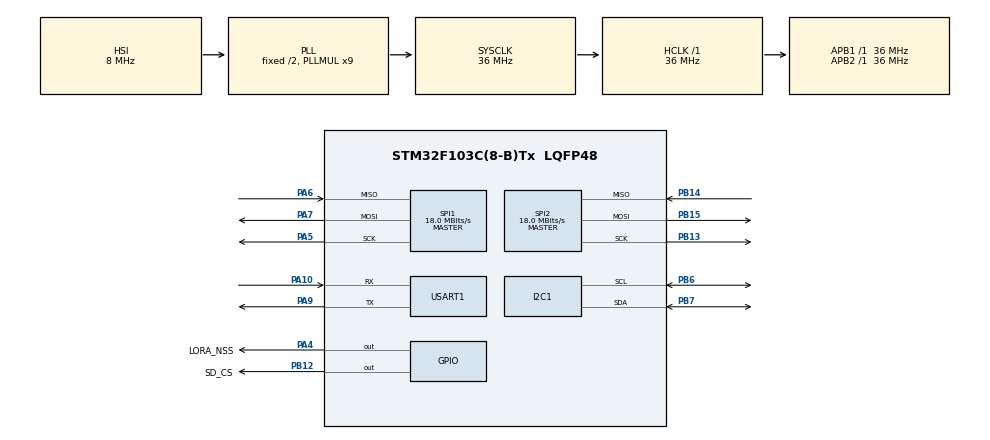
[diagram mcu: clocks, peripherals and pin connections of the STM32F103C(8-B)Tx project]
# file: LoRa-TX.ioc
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FATFS._MAX_SS=4096
FATFS._USE_LFN=1
Mcu.Family=STM32F1
Mcu.Name=STM32F103C(8-B)Tx
Mcu.Package=LQFP48
NVIC.PriorityGroup=NVIC_PRIORITYGROUP_4
PA10.Mode=Asynchronous
PA10.Signal=USART1_RX
PA13.Mode=Serial_Wire
PA13.Signal=SYS_JTMS-SWDIO
PA14.Mode=Serial_Wire
PA14.Signal=SYS_JTCK-SWCLK
PA4.GPIO_Label=LORA_NSS
PA4.Signal=GPIO_Output
PA5.Mode=Full_Duplex_Master
PA5.Signal=SPI1_SCK
PA6.Mode=Full_Duplex_Master
PA6.Signal=SPI1_MISO
PA7.Mode=Full_Duplex_Master
PA7.Signal=SPI1_MOSI
PA9.Mode=Asynchronous
PA9.Signal=USART1_TX
PB12.GPIO_Label=SD_CS
PB12.Signal=GPIO_Output
PB13.Mode=Full_Duplex_Master
PB13.Signal=SPI2_SCK
PB14.Mode=Full_Duplex_Master
PB14.Signal=SPI2_MISO
PB15.Mode=Full_Duplex_Master
PB15.Signal=SPI2_MOSI
PB6.Mode=I2C
PB6.Signal=I2C1_SCL
PB7.Mode=I2C
PB7.Signal=I2C1_SDA
ProjectManager.HeapSize=0x200
ProjectManager.StackSize=0x400
ProjectManager.TargetToolchain=STM32CubeIDE
RCC.AHBFreq_Value=36000000
RCC.APB1Freq_Value=36000000
RCC.APB1TimFreq_Value=36000000
RCC.APB2Freq_Value=36000000
RCC.APB2TimFreq_Value=36000000
RCC.HCLKFreq_Value=36000000
RCC.PLLMUL=RCC_PLL_MUL9
RCC.SYSCLKFreq_VALUE=36000000
RCC.SYSCLKSource=RCC_SYSCLKSOURCE_PLLCLK
RCC.USBFreq_Value=36000000
SPI1.CalculateBaudRate=18.0 MBits/s
SPI1.Direction=SPI_DIRECTION_2LINES
SPI1.Mode=SPI_MODE_MASTER
SPI1.VirtualType=VM_MASTER
SPI2.CalculateBaudRate=18.0 MBits/s
SPI2.Direction=SPI_DIRECTION_2LINES
SPI2.Mode=SPI_MODE_MASTER
SPI2.VirtualType=VM_MASTER
USART1.VirtualMode=VM_ASYNC
VP_FATFS_VS_Generic.Mode=User_defined
board=custom

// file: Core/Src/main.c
/* USER CODE BEGIN Header */
/**
  ******************************************************************************
  * @file           : main.c
  * @brief          : Main program body
  ******************************************************************************
  * @attention
  *
  * Copyright (c) 2022 STMicroelectronics.
  * All rights reserved.
  *
  * This software is licensed under terms that can be found in the LICENSE file
  * in the root directory of this software component.
  * If no LICENSE file comes with this software, it is provided AS-IS.
  *
  ******************************************************************************
  */
/* USER CODE END Header */
#include "main.h"
#include "fatfs.h"
#include "string.h"
#include "lora_sx1276.h"

I2C_HandleTypeDef hi2c1;

SPI_HandleTypeDef hspi1;
SPI_HandleTypeDef hspi2;

UART_HandleTypeDef huart1;

/* USER CODE BEGIN PV */
FATFS fs;
FIL fil;
FRESULT resSD;
uint8_t resLORA;
lora_sx1276 lora;

char message[25] = "LoRa Board TX Testing";
/* USER CODE END PV */

void SystemClock_Config(void);
static void MX_GPIO_Init(void);
static void MX_I2C1_Init(void);
static void MX_SPI1_Init(void);
static void MX_SPI2_Init(void);
static void MX_USART1_UART_Init(void);

/* USER CODE BEGIN 0 */
void send_uart(char *string){
	uint8_t len = strlen(string);
	HAL_UART_Transmit(&huart1, (uint8_t*)string, len, 2000);
}
/* USER CODE END 0 */

int main(void)
{

  /* MCU Configuration--------------------------------------------------------*/

  /* Reset of all peripherals, Initializes the Flash interface and the Systick. */
  HAL_Init();

  /* Configure the system clock */
  SystemClock_Config();

  /* Initialize all configured peripherals */
  MX_GPIO_Init();
  MX_I2C1_Init();
  MX_SPI1_Init();
  MX_SPI2_Init();
  MX_USART1_UART_Init();
  MX_FATFS_Init();
  /* USER CODE BEGIN 2 */
  send_uart("Mounting File System and Opening File !!!\r\n");
  while((f_mount(&fs, "", 0)) != FR_OK){
	  send_uart("Mounting File System Failed...try to reset the mcu !!!\r\n");
  }
  while((f_open(&fil, "LORA-TX_LOG.txt", FA_OPEN_ALWAYS | FA_WRITE | FA_READ)) != FR_OK){
	  send_uart("Opening File Failed...try to reset the mcu !!!\r\n");
  }

  while((lora_init(&lora, &hspi1, LORA_NSS_GPIO_Port, LORA_NSS_Pin, 923*1000000)) != LORA_OK){
	  send_uart("Initialize LoRa Failed...try to reset the mcu !!!\r\n");
  }
  send_uart("Initialize LoRa Success\r\n");
  send_uart("++++++++++++++++++++++\r\n");

  /* USER CODE END 2 */

  /* Infinite loop */
  /* USER CODE BEGIN WHILE */
  int i = 0;
  while (i<100)
  {
    /* USER CODE END WHILE */

    /* USER CODE BEGIN 3 */
	  resLORA = lora_send_packet(&lora, (uint8_t *)message, sizeof(message));
	  if(resLORA != LORA_OK){
		  send_uart("Failed to sent package !!!\r\n");
	  }else{
		  f_puts("Message sent : ", &fil);
		  f_puts(message, &fil);
		  f_puts(" --> ", &fil);
		  f_puts(resLORA, &fil);
		  f_puts("\r\n", &fil);

		  send_uart("Data Sent : ");
		  send_uart(message);
		  send_uart("\r\n");
	  }
	  i++;
  }

  f_close(&fil);
  send_uart("Closing File...Please Wait\r\n");
  HAL_Delay(5000);
  send_uart("ALL DONE !!!\r\n");
  /* USER CODE END 3 */
}

void SystemClock_Config(void)
{
  RCC_OscInitTypeDef RCC_OscInitStruct = {0};
  RCC_ClkInitTypeDef RCC_ClkInitStruct = {0};

  /** Initializes the RCC Oscillators according to the specified parameters
  * in the RCC_OscInitTypeDef structure.
  */
  RCC_OscInitStruct.OscillatorType = RCC_OSCILLATORTYPE_HSI;
  RCC_OscInitStruct.HSIState = RCC_HSI_ON;
  RCC_OscInitStruct.HSICalibrationValue = RCC_HSICALIBRATION_DEFAULT;
  RCC_OscInitStruct.PLL.PLLState = RCC_PLL_ON;
  RCC_OscInitStruct.PLL.PLLSource = RCC_PLLSOURCE_HSI_DIV2;
  RCC_OscInitStruct.PLL.PLLMUL = RCC_PLL_MUL9;
  if (HAL_RCC_OscConfig(&RCC_OscInitStruct) != HAL_OK)
  {
    Error_Handler();
  }

  /** Initializes the CPU, AHB and APB buses clocks
  */
  RCC_ClkInitStruct.ClockType = RCC_CLOCKTYPE_HCLK|RCC_CLOCKTYPE_SYSCLK
                              |RCC_CLOCKTYPE_PCLK1|RCC_CLOCKTYPE_PCLK2;
  RCC_ClkInitStruct.SYSCLKSource = RCC_SYSCLKSOURCE_PLLCLK;
  RCC_ClkInitStruct.AHBCLKDivider = RCC_SYSCLK_DIV1;
  RCC_ClkInitStruct.APB1CLKDivider = RCC_HCLK_DIV1;
  RCC_ClkInitStruct.APB2CLKDivider = RCC_HCLK_DIV1;

  if (HAL_RCC_ClockConfig(&RCC_ClkInitStruct, FLASH_LATENCY_1) != HAL_OK)
  {
    Error_Handler();
  }
}

static void MX_I2C1_Init(void)
{

  hi2c1.Instance = I2C1;
  hi2c1.Init.ClockSpeed = 100000;
  hi2c1.Init.DutyCycle = I2C_DUTYCYCLE_2;
  hi2c1.Init.OwnAddress1 = 0;
  hi2c1.Init.AddressingMode = I2C_ADDRESSINGMODE_7BIT;
  hi2c1.Init.DualAddressMode = I2C_DUALADDRESS_DISABLE;
  hi2c1.Init.OwnAddress2 = 0;
  hi2c1.Init.GeneralCallMode = I2C_GENERALCALL_DISABLE;
  hi2c1.Init.NoStretchMode = I2C_NOSTRETCH_DISABLE;
  if (HAL_I2C_Init(&hi2c1) != HAL_OK)
  {
    Error_Handler();
  }

}

static void MX_SPI1_Init(void)
{

  /* SPI1 parameter configuration*/
  hspi1.Instance = SPI1;
  hspi1.Init.Mode = SPI_MODE_MASTER;
  hspi1.Init.Direction = SPI_DIRECTION_2LINES;
  hspi1.Init.DataSize = SPI_DATASIZE_8BIT;
  hspi1.Init.CLKPolarity = SPI_POLARITY_LOW;
  hspi1.Init.CLKPhase = SPI_PHASE_1EDGE;
  hspi1.Init.NSS = SPI_NSS_SOFT;
  hspi1.Init.BaudRatePrescaler = SPI_BAUDRATEPRESCALER_2;
  hspi1.Init.FirstBit = SPI_FIRSTBIT_MSB;
  hspi1.Init.TIMode = SPI_TIMODE_DISABLE;
  hspi1.Init.CRCCalculation = SPI_CRCCALCULATION_DISABLE;
  hspi1.Init.CRCPolynomial = 10;
  if (HAL_SPI_Init(&hspi1) != HAL_OK)
  {
    Error_Handler();
  }

}

static void MX_SPI2_Init(void)
{

  /* SPI2 parameter configuration*/
  hspi2.Instance = SPI2;
  hspi2.Init.Mode = SPI_MODE_MASTER;
  hspi2.Init.Direction = SPI_DIRECTION_2LINES;
  hspi2.Init.DataSize = SPI_DATASIZE_8BIT;
  hspi2.Init.CLKPolarity = SPI_POLARITY_LOW;
  hspi2.Init.CLKPhase = SPI_PHASE_1EDGE;
  hspi2.Init.NSS = SPI_NSS_SOFT;
  hspi2.Init.BaudRatePrescaler = SPI_BAUDRATEPRESCALER_2;
  hspi2.Init.FirstBit = SPI_FIRSTBIT_MSB;
  hspi2.Init.TIMode = SPI_TIMODE_DISABLE;
  hspi2.Init.CRCCalculation = SPI_CRCCALCULATION_DISABLE;
  hspi2.Init.CRCPolynomial = 10;
  if (HAL_SPI_Init(&hspi2) != HAL_OK)
  {
    Error_Handler();
  }

}

static void MX_USART1_UART_Init(void)
{

  huart1.Instance = USART1;
  huart1.Init.BaudRate = 115200;
  huart1.Init.WordLength = UART_WORDLENGTH_8B;
  huart1.Init.StopBits = UART_STOPBITS_1;
  huart1.Init.Parity = UART_PARITY_NONE;
  huart1.Init.Mode = UART_MODE_TX_RX;
  huart1.Init.HwFlowCtl = UART_HWCONTROL_NONE;
  huart1.Init.OverSampling = UART_OVERSAMPLING_16;
  if (HAL_UART_Init(&huart1) != HAL_OK)
  {
    Error_Handler();
  }

}

static void MX_GPIO_Init(void)
{
  GPIO_InitTypeDef GPIO_InitStruct = {0};

  /* GPIO Ports Clock Enable */
  __HAL_RCC_GPIOA_CLK_ENABLE();
  __HAL_RCC_GPIOB_CLK_ENABLE();

  /*Configure GPIO pin Output Level */
  HAL_GPIO_WritePin(LORA_NSS_GPIO_Port, LORA_NSS_Pin, GPIO_PIN_RESET);

  /*Configure GPIO pin Output Level */
  HAL_GPIO_WritePin(SD_CS_GPIO_Port, SD_CS_Pin, GPIO_PIN_RESET);

  /*Configure GPIO pin : LORA_NSS_Pin */
  GPIO_InitStruct.Pin = LORA_NSS_Pin;
  GPIO_InitStruct.Mode = GPIO_MODE_OUTPUT_PP;
  GPIO_InitStruct.Pull = GPIO_NOPULL;
  GPIO_InitStruct.Speed = GPIO_SPEED_FREQ_LOW;
  HAL_GPIO_Init(LORA_NSS_GPIO_Port, &GPIO_InitStruct);

  /*Configure GPIO pin : SD_CS_Pin */
  GPIO_InitStruct.Pin = SD_CS_Pin;
  GPIO_InitStruct.Mode = GPIO_MODE_OUTPUT_PP;
  GPIO_InitStruct.Pull = GPIO_NOPULL;
  GPIO_InitStruct.Speed = GPIO_SPEED_FREQ_LOW;
  HAL_GPIO_Init(SD_CS_GPIO_Port, &GPIO_InitStruct);

}

void Error_Handler(void)
{
  __disable_irq();
  while (1)
  {
  }
}
